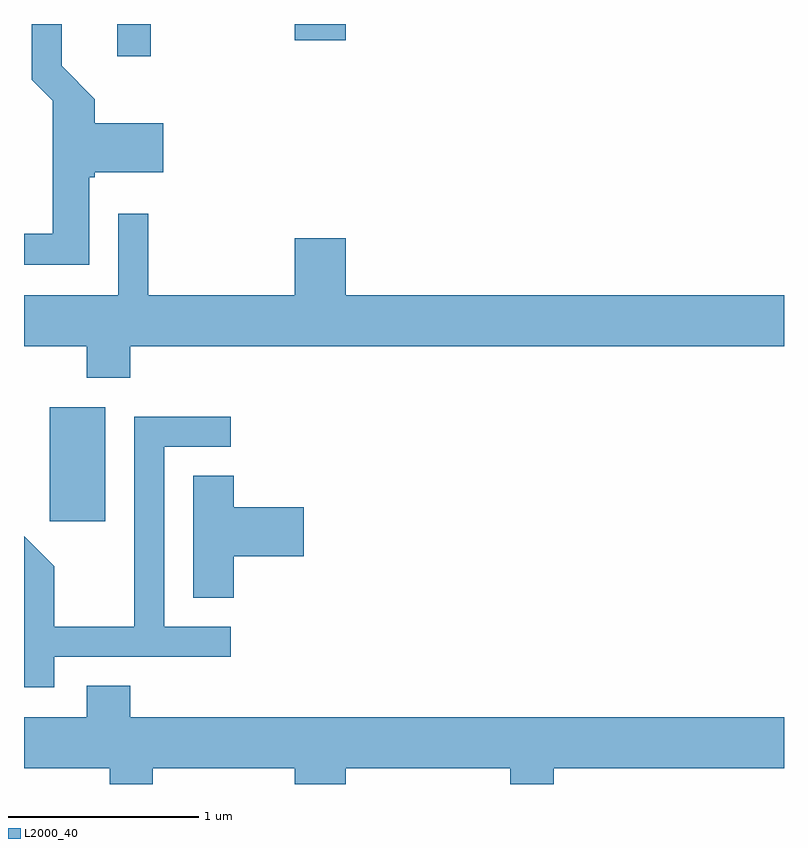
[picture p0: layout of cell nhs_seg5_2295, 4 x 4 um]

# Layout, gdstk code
import gdstk
lib = gdstk.Library(unit=1e-6, precision=1e-09)
def R(c, l, rs):  # rectangles x0, y0, x1, y1
    for r in rs: c.add(gdstk.rectangle(r[:2], r[2:], *l))
def P(c, l, *ps):  # polygons
    for p in ps: c.add(gdstk.Polygon(p, *l))
L2000_40 = (2000, 40)

nhs_seg5_2295 = lib.new_cell('nhs_seg5_2295')
R(nhs_seg5_2295, L2000_40, [(253.746,1431.456,254.039,1432.054), (254.101,1433.901,254.279,1434.072), (255.036,1433.986,255.304,1434.072)])
P(nhs_seg5_2295, L2000_40, [(253.954,1433.266),(253.984,1433.266),(253.984,1433.291),(254.344,1433.291),(254.344,1433.549),(253.984,1433.549),(253.984,1433.677),(253.809,1433.852),(253.809,1434.072),(253.651,1434.072),(253.651,1433.779),(253.761,1433.669),(253.761,1432.969),(253.611,1432.969),(253.611,1432.806),(253.954,1432.806)],
  [(254.169,1432.376),(257.611,1432.376),(257.611,1432.644),(255.304,1432.644),(255.304,1432.944),(255.036,1432.944),(255.036,1432.644),(254.264,1432.644),(254.264,1433.073),(254.106,1433.073),(254.106,1432.644),(253.611,1432.644),(253.611,1432.376),(253.941,1432.376),(253.941,1432.211),(254.169,1432.211)],
  [(253.769,1430.741),(254.698,1430.741),(254.698,1430.899),(254.349,1430.899),(254.349,1431.846),(254.698,1431.846),(254.698,1432.004),(254.191,1432.004),(254.191,1430.899),(253.769,1430.899),(253.769,1431.217),(253.611,1431.375),(253.611,1430.581),(253.769,1430.581)],
  [(254.714,1431.271),(255.084,1431.271),(255.084,1431.529),(254.714,1431.529),(254.714,1431.694),(254.501,1431.694),(254.501,1431.051),(254.714,1431.051)],
  [(254.289,1430.156),(255.036,1430.156),(255.036,1430.072),(255.304,1430.072),(255.304,1430.156),(256.171,1430.156),(256.171,1430.072),(256.399,1430.072),(256.399,1430.156),(257.611,1430.156),(257.611,1430.424),(254.169,1430.424),(254.169,1430.589),(253.941,1430.589),(253.941,1430.424),(253.611,1430.424),(253.611,1430.156),(254.061,1430.156),(254.061,1430.072),(254.289,1430.072)])

lib.write_gds('nhs_seg5_2295.gds')
